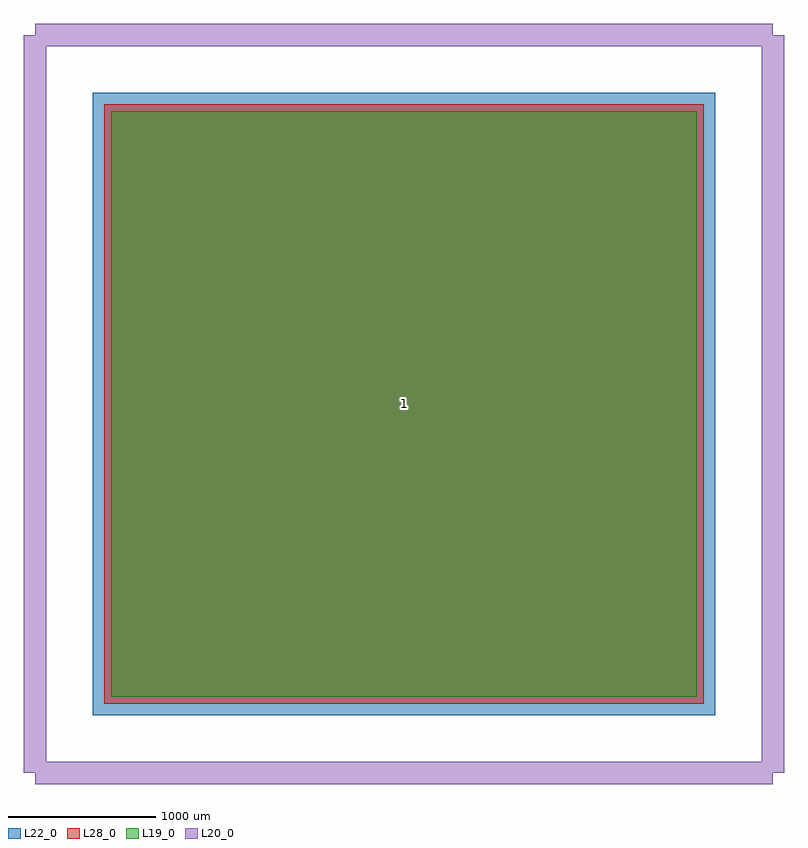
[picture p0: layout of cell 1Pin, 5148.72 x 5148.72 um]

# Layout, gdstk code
import gdstk
lib = gdstk.Library(unit=1e-6, precision=1e-09)
def R(c, l, rs):  # rectangles x0, y0, x1, y1
    for r in rs: c.add(gdstk.rectangle(r[:2], r[2:], *l))
L19_0 = (19, 0)
L20_0 = (20, 0)
L22_0 = (22, 0)
L28_0 = (28, 0)

c_1pin = lib.new_cell('1Pin')
R(c_1pin, L19_0, [(-1982,-1982,1982,1982)])
R(c_1pin, L22_0, [(-2107,-2107,2107,2107)])
R(c_1pin, L28_0, [(-2032,-2032,2032,2032)])
c_1pin.add(gdstk.FlexPath([(-2499.36,-2499.36),(-2499.36,2499.36)], 149.998, ends="flush", simple_path=True, layer=20, datatype=0))  # L20_0
c_1pin.add(gdstk.FlexPath([(2499.36,-2499.36),(-2499.36,-2499.36)], 149.998, ends="flush", simple_path=True, layer=20, datatype=0))  # L20_0
c_1pin.add(gdstk.FlexPath([(2499.36,2499.36),(2499.36,-2499.36)], 149.998, ends="flush", simple_path=True, layer=20, datatype=0))  # L20_0
c_1pin.add(gdstk.FlexPath([(-2499.36,2499.36),(2499.36,2499.36)], 149.998, ends="flush", simple_path=True, layer=20, datatype=0))  # L20_0
c_1pin.add(gdstk.Label('1', (0,0), layer=28, texttype=0))
c_1pin.add(gdstk.Label('type', (248.92,-3749.04), layer=9, texttype=0))
c_1pin.add(gdstk.Label('devicename', (0,3500.12), layer=9, texttype=0))

lib.write_gds('1Pin.gds')
